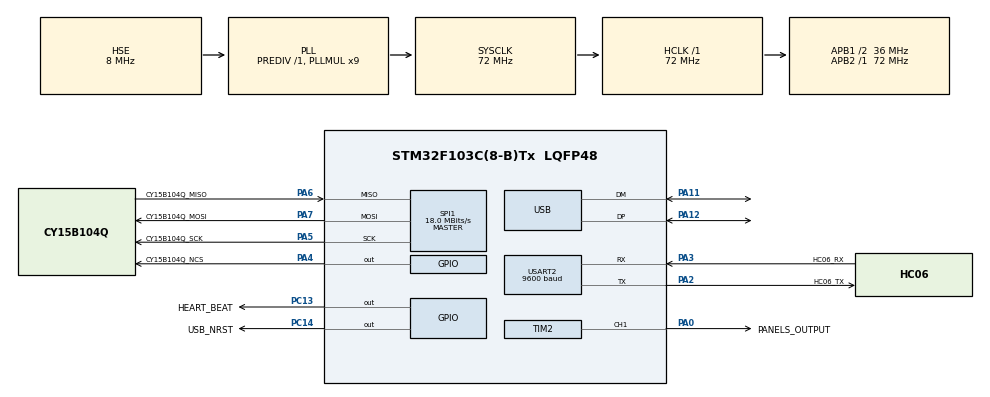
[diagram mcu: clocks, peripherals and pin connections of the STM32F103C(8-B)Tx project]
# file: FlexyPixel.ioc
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Dma.Request0=TIM2_CH1
Dma.Request1=USART2_RX
Dma.TIM2_CH1.0.Direction=DMA_MEMORY_TO_PERIPH
Dma.TIM2_CH1.0.Instance=DMA1_Channel5
Dma.TIM2_CH1.0.MemDataAlignment=DMA_MDATAALIGN_BYTE
Dma.TIM2_CH1.0.MemInc=DMA_MINC_ENABLE
Dma.TIM2_CH1.0.Mode=DMA_CIRCULAR
Dma.TIM2_CH1.0.PeriphDataAlignment=DMA_PDATAALIGN_HALFWORD
Dma.TIM2_CH1.0.PeriphInc=DMA_PINC_DISABLE
Dma.TIM2_CH1.0.Priority=DMA_PRIORITY_HIGH
Dma.USART2_RX.1.Direction=DMA_PERIPH_TO_MEMORY
Dma.USART2_RX.1.Instance=DMA1_Channel6
Dma.USART2_RX.1.MemDataAlignment=DMA_MDATAALIGN_BYTE
Dma.USART2_RX.1.MemInc=DMA_MINC_ENABLE
Dma.USART2_RX.1.Mode=DMA_NORMAL
Dma.USART2_RX.1.PeriphDataAlignment=DMA_PDATAALIGN_BYTE
Dma.USART2_RX.1.PeriphInc=DMA_PINC_DISABLE
Dma.USART2_RX.1.Priority=DMA_PRIORITY_LOW
Mcu.Family=STM32F1
Mcu.Name=STM32F103C(8-B)Tx
Mcu.Package=LQFP48
NVIC.DMA1_Channel5_IRQn=true\:0\:0\:false\:false\:true\:false\:true\:true
NVIC.DMA1_Channel6_IRQn=true\:0\:0\:false\:false\:true\:false\:true\:true
NVIC.PriorityGroup=NVIC_PRIORITYGROUP_4
NVIC.TIM3_IRQn=true\:0\:0\:false\:false\:true\:true\:true\:true
NVIC.USB_LP_CAN1_RX0_IRQn=true\:0\:0\:false\:false\:true\:false\:true\:true
PA0-WKUP.GPIO_Label=PANELS_OUTPUT
PA0-WKUP.GPIO_Speed=GPIO_SPEED_FREQ_HIGH
PA0-WKUP.Signal=S_TIM2_CH1_ETR
PA11.Mode=Device
PA11.Signal=USB_DM
PA12.Mode=Device
PA12.Signal=USB_DP
PA13.Mode=Serial_Wire
PA13.Signal=SYS_JTMS-SWDIO
PA14.Mode=Serial_Wire
PA14.Signal=SYS_JTCK-SWCLK
PA2.GPIO_Label=HC06_TX
PA2.Mode=Asynchronous
PA2.Signal=USART2_TX
PA3.GPIO_Label=HC06_RX
PA3.Mode=Asynchronous
PA3.Signal=USART2_RX
PA4.GPIO_Label=CY15B104Q_NCS
PA4.PinState=GPIO_PIN_SET
PA4.Signal=GPIO_Output
PA5.GPIO_Label=CY15B104Q_SCK
PA5.Mode=Full_Duplex_Master
PA5.Signal=SPI1_SCK
PA6.GPIO_Label=CY15B104Q_MISO
PA6.Mode=Full_Duplex_Master
PA6.Signal=SPI1_MISO
PA7.GPIO_Label=CY15B104Q_MOSI
PA7.Mode=Full_Duplex_Master
PA7.Signal=SPI1_MOSI
PC13-TAMPER-RTC.GPIO_Label=HEART_BEAT
PC13-TAMPER-RTC.Signal=GPIO_Output
PC14-OSC32_IN.GPIO_Label=USB_NRST
PC14-OSC32_IN.GPIO_ModeDefaultOutputPP=GPIO_MODE_OUTPUT_OD
PC14-OSC32_IN.GPIO_PuPd=GPIO_NOPULL
PC14-OSC32_IN.Signal=GPIO_Output
PD0-OSC_IN.Mode=HSE-External-Oscillator
PD0-OSC_IN.Signal=RCC_OSC_IN
PD1-OSC_OUT.Mode=HSE-External-Oscillator
PD1-OSC_OUT.Signal=RCC_OSC_OUT
ProjectManager.HeapSize=0x200
ProjectManager.StackSize=0x400
ProjectManager.TargetToolchain=Makefile
RCC.AHBFreq_Value=72000000
RCC.APB1CLKDivider=RCC_HCLK_DIV2
RCC.APB1Freq_Value=36000000
RCC.APB1TimFreq_Value=72000000
RCC.APB2Freq_Value=72000000
RCC.APB2TimFreq_Value=72000000
RCC.HCLKFreq_Value=72000000
RCC.PLLMUL=RCC_PLL_MUL9
RCC.PLLSourceVirtual=RCC_PLLSOURCE_HSE
RCC.SYSCLKFreq_VALUE=72000000
RCC.SYSCLKSource=RCC_SYSCLKSOURCE_PLLCLK
RCC.USBFreq_Value=48000000
RCC.USBPrescaler=RCC_USBCLKSOURCE_PLL_DIV1_5
SH.S_TIM2_CH1_ETR.0=TIM2_CH1,PWM Generation1 CH1
SPI1.BaudRatePrescaler=SPI_BAUDRATEPRESCALER_4
SPI1.CalculateBaudRate=18.0 MBits/s
SPI1.Direction=SPI_DIRECTION_2LINES
SPI1.Mode=SPI_MODE_MASTER
SPI1.VirtualType=VM_MASTER
TIM2.Channel-PWM\ Generation1\ CH1=TIM_CHANNEL_1
TIM2.Period=90-1
TIM3.ClockDivision=TIM_CLOCKDIVISION_DIV1
TIM3.Period=60000 - 1
TIM3.Prescaler=12 - 1
USART2.BaudRate=9600
USART2.VirtualMode=VM_ASYNC
USB_DEVICE.CLASS_NAME_FS=CDC
USB_DEVICE.VirtualMode=Cdc
USB_DEVICE.VirtualModeFS=Cdc_FS
VP_TIM3_VS_ClockSourceINT.Mode=Internal
VP_USB_DEVICE_VS_USB_DEVICE_CDC_FS.Mode=CDC_FS
board=custom

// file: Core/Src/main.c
/* USER CODE BEGIN Header */
/**
  ******************************************************************************
  * @file           : main.c
  * @brief          : Main program body
  ******************************************************************************
  * @attention
  *
  * Copyright (c) 2024 STMicroelectronics.
  * All rights reserved.
  *
  * This software is licensed under terms that can be found in the LICENSE file
  * in the root directory of this software component.
  * If no LICENSE file comes with this software, it is provided AS-IS.
  *
  ******************************************************************************
  */
/* USER CODE END Header */
#include "main.h"
#include "usb_device.h"

/* USER CODE BEGIN Includes */
#include "usbd_cdc_if.h"
#include "task_manager.h"
#include "builder_general.h"
#include "cy15b104q_driver.h"
#include "displays_config_storage.h"
#include "single_changes_storage.h"
#include "builder_task_manager.h"
#include "frames_storage.h"
#include "builder_debug_handler.h"
#include "debug_handler.h"
/* USER CODE END Includes */

SPI_HandleTypeDef hspi1;

TIM_HandleTypeDef htim2;
TIM_HandleTypeDef htim3;
DMA_HandleTypeDef hdma_tim2_ch1;

UART_HandleTypeDef huart2;
DMA_HandleTypeDef hdma_usart2_rx;

void SystemClock_Config(void);
static void MX_GPIO_Init(void);
static void MX_DMA_Init(void);
static void MX_TIM2_Init(void);
static void MX_USART2_UART_Init(void);
static void MX_TIM3_Init(void);
static void MX_SPI1_Init(void);

int main(void)
{

  /* MCU Configuration--------------------------------------------------------*/

  /* Reset of all peripherals, Initializes the Flash interface and the Systick. */
  HAL_Init();

  /* Configure the system clock */
  SystemClock_Config();

  /* Initialize all configured peripherals */
  MX_GPIO_Init();
  MX_DMA_Init();
  MX_TIM2_Init();
  MX_USART2_UART_Init();
  MX_TIM3_Init();
  MX_SPI1_Init();
  MX_USB_DEVICE_Init();

  /* Infinite loop */
  /* USER CODE BEGIN WHILE */
  displays_config_storage_create();
  single_changes_storage_create();
  frames_storage_create();

  builder_general_build(&huart2, &hspi1, &htim2);

  // Can connect to USB session (if host is connected)
  DEBUG_HANDLER_OUTPUT("Modules initialized successfully");

  cy15b104q_driver_power_up();

  cy15b104q_driver_status mem_status = cy15b104q_driver_check_link();
  if (mem_status != CY15B104Q_STATUS_OK)
    Error_Handler();
  DEBUG_HANDLER_OUTPUT("Memory initialized successfully");

  (void)cy15b104q_driver_write_enable();
  (void)cy15b104q_driver_write_status_register(false, false, false);

  if (builder_task_manager_build())
    Error_Handler();
  DEBUG_HANDLER_OUTPUT("Task manager initialized successfully");

  task_manager_start_cluster("startup", NULL);

  while (1)
  {
    /* USER CODE END WHILE */

    /* USER CODE BEGIN 3 */
    task_manager_execute();
  }
  /* USER CODE END 3 */
}

void SystemClock_Config(void)
{
  RCC_OscInitTypeDef RCC_OscInitStruct = {0};
  RCC_ClkInitTypeDef RCC_ClkInitStruct = {0};
  RCC_PeriphCLKInitTypeDef PeriphClkInit = {0};

  /** Initializes the RCC Oscillators according to the specified parameters
  * in the RCC_OscInitTypeDef structure.
  */
  RCC_OscInitStruct.OscillatorType = RCC_OSCILLATORTYPE_HSE;
  RCC_OscInitStruct.HSEState = RCC_HSE_ON;
  RCC_OscInitStruct.HSEPredivValue = RCC_HSE_PREDIV_DIV1;
  RCC_OscInitStruct.HSIState = RCC_HSI_ON;
  RCC_OscInitStruct.PLL.PLLState = RCC_PLL_ON;
  RCC_OscInitStruct.PLL.PLLSource = RCC_PLLSOURCE_HSE;
  RCC_OscInitStruct.PLL.PLLMUL = RCC_PLL_MUL9;
  if (HAL_RCC_OscConfig(&RCC_OscInitStruct) != HAL_OK)
  {
    Error_Handler();
  }

  /** Initializes the CPU, AHB and APB buses clocks
  */
  RCC_ClkInitStruct.ClockType = RCC_CLOCKTYPE_HCLK|RCC_CLOCKTYPE_SYSCLK
                              |RCC_CLOCKTYPE_PCLK1|RCC_CLOCKTYPE_PCLK2;
  RCC_ClkInitStruct.SYSCLKSource = RCC_SYSCLKSOURCE_PLLCLK;
  RCC_ClkInitStruct.AHBCLKDivider = RCC_SYSCLK_DIV1;
  RCC_ClkInitStruct.APB1CLKDivider = RCC_HCLK_DIV2;
  RCC_ClkInitStruct.APB2CLKDivider = RCC_HCLK_DIV1;

  if (HAL_RCC_ClockConfig(&RCC_ClkInitStruct, FLASH_LATENCY_2) != HAL_OK)
  {
    Error_Handler();
  }
  PeriphClkInit.PeriphClockSelection = RCC_PERIPHCLK_USB;
  PeriphClkInit.UsbClockSelection = RCC_USBCLKSOURCE_PLL_DIV1_5;
  if (HAL_RCCEx_PeriphCLKConfig(&PeriphClkInit) != HAL_OK)
  {
    Error_Handler();
  }
}

static void MX_SPI1_Init(void)
{

  /* SPI1 parameter configuration*/
  hspi1.Instance = SPI1;
  hspi1.Init.Mode = SPI_MODE_MASTER;
  hspi1.Init.Direction = SPI_DIRECTION_2LINES;
  hspi1.Init.DataSize = SPI_DATASIZE_8BIT;
  hspi1.Init.CLKPolarity = SPI_POLARITY_LOW;
  hspi1.Init.CLKPhase = SPI_PHASE_1EDGE;
  hspi1.Init.NSS = SPI_NSS_SOFT;
  hspi1.Init.BaudRatePrescaler = SPI_BAUDRATEPRESCALER_4;
  hspi1.Init.FirstBit = SPI_FIRSTBIT_MSB;
  hspi1.Init.TIMode = SPI_TIMODE_DISABLE;
  hspi1.Init.CRCCalculation = SPI_CRCCALCULATION_DISABLE;
  hspi1.Init.CRCPolynomial = 10;
  if (HAL_SPI_Init(&hspi1) != HAL_OK)
  {
    Error_Handler();
  }

}

static void MX_TIM2_Init(void)
{

  TIM_MasterConfigTypeDef sMasterConfig = {0};
  TIM_OC_InitTypeDef sConfigOC = {0};

  htim2.Instance = TIM2;
  htim2.Init.Prescaler = 0;
  htim2.Init.CounterMode = TIM_COUNTERMODE_UP;
  htim2.Init.Period = 90-1;
  htim2.Init.ClockDivision = TIM_CLOCKDIVISION_DIV1;
  htim2.Init.AutoReloadPreload = TIM_AUTORELOAD_PRELOAD_DISABLE;
  if (HAL_TIM_PWM_Init(&htim2) != HAL_OK)
  {
    Error_Handler();
  }
  sMasterConfig.MasterOutputTrigger = TIM_TRGO_RESET;
  sMasterConfig.MasterSlaveMode = TIM_MASTERSLAVEMODE_DISABLE;
  if (HAL_TIMEx_MasterConfigSynchronization(&htim2, &sMasterConfig) != HAL_OK)
  {
    Error_Handler();
  }
  sConfigOC.OCMode = TIM_OCMODE_PWM1;
  sConfigOC.Pulse = 0;
  sConfigOC.OCPolarity = TIM_OCPOLARITY_HIGH;
  sConfigOC.OCFastMode = TIM_OCFAST_DISABLE;
  if (HAL_TIM_PWM_ConfigChannel(&htim2, &sConfigOC, TIM_CHANNEL_1) != HAL_OK)
  {
    Error_Handler();
  }
  HAL_TIM_MspPostInit(&htim2);

}

static void MX_TIM3_Init(void)
{

  TIM_ClockConfigTypeDef sClockSourceConfig = {0};
  TIM_MasterConfigTypeDef sMasterConfig = {0};

  htim3.Instance = TIM3;
  htim3.Init.Prescaler = 12 - 1;
  htim3.Init.CounterMode = TIM_COUNTERMODE_UP;
  htim3.Init.Period = 60000 - 1;
  htim3.Init.ClockDivision = TIM_CLOCKDIVISION_DIV1;
  htim3.Init.AutoReloadPreload = TIM_AUTORELOAD_PRELOAD_DISABLE;
  if (HAL_TIM_Base_Init(&htim3) != HAL_OK)
  {
    Error_Handler();
  }
  sClockSourceConfig.ClockSource = TIM_CLOCKSOURCE_INTERNAL;
  if (HAL_TIM_ConfigClockSource(&htim3, &sClockSourceConfig) != HAL_OK)
  {
    Error_Handler();
  }
  sMasterConfig.MasterOutputTrigger = TIM_TRGO_RESET;
  sMasterConfig.MasterSlaveMode = TIM_MASTERSLAVEMODE_DISABLE;
  if (HAL_TIMEx_MasterConfigSynchronization(&htim3, &sMasterConfig) != HAL_OK)
  {
    Error_Handler();
  }

}

static void MX_USART2_UART_Init(void)
{

  huart2.Instance = USART2;
  huart2.Init.BaudRate = 9600;
  huart2.Init.WordLength = UART_WORDLENGTH_8B;
  huart2.Init.StopBits = UART_STOPBITS_1;
  huart2.Init.Parity = UART_PARITY_NONE;
  huart2.Init.Mode = UART_MODE_TX_RX;
  huart2.Init.HwFlowCtl = UART_HWCONTROL_NONE;
  huart2.Init.OverSampling = UART_OVERSAMPLING_16;
  if (HAL_UART_Init(&huart2) != HAL_OK)
  {
    Error_Handler();
  }

}

static void MX_DMA_Init(void)
{

  /* DMA controller clock enable */
  __HAL_RCC_DMA1_CLK_ENABLE();

  /* DMA interrupt init */
  /* DMA1_Channel5_IRQn interrupt configuration */
  HAL_NVIC_SetPriority(DMA1_Channel5_IRQn, 0, 0);
  HAL_NVIC_EnableIRQ(DMA1_Channel5_IRQn);
  /* DMA1_Channel6_IRQn interrupt configuration */
  HAL_NVIC_SetPriority(DMA1_Channel6_IRQn, 0, 0);
  HAL_NVIC_EnableIRQ(DMA1_Channel6_IRQn);

}

static void MX_GPIO_Init(void)
{
  GPIO_InitTypeDef GPIO_InitStruct = {0};

  /* GPIO Ports Clock Enable */
  __HAL_RCC_GPIOC_CLK_ENABLE();
  __HAL_RCC_GPIOD_CLK_ENABLE();
  __HAL_RCC_GPIOA_CLK_ENABLE();

  /*Configure GPIO pin Output Level */
  HAL_GPIO_WritePin(GPIOC, HEART_BEAT_Pin|USB_NRST_Pin, GPIO_PIN_RESET);

  /*Configure GPIO pin Output Level */
  HAL_GPIO_WritePin(CY15B104Q_NCS_GPIO_Port, CY15B104Q_NCS_Pin, GPIO_PIN_SET);

  /*Configure GPIO pin : HEART_BEAT_Pin */
  GPIO_InitStruct.Pin = HEART_BEAT_Pin;
  GPIO_InitStruct.Mode = GPIO_MODE_OUTPUT_PP;
  GPIO_InitStruct.Pull = GPIO_NOPULL;
  GPIO_InitStruct.Speed = GPIO_SPEED_FREQ_LOW;
  HAL_GPIO_Init(HEART_BEAT_GPIO_Port, &GPIO_InitStruct);

  /*Configure GPIO pin : USB_NRST_Pin */
  GPIO_InitStruct.Pin = USB_NRST_Pin;
  GPIO_InitStruct.Mode = GPIO_MODE_OUTPUT_OD;
  GPIO_InitStruct.Pull = GPIO_NOPULL;
  GPIO_InitStruct.Speed = GPIO_SPEED_FREQ_LOW;
  HAL_GPIO_Init(USB_NRST_GPIO_Port, &GPIO_InitStruct);

  /*Configure GPIO pin : CY15B104Q_NCS_Pin */
  GPIO_InitStruct.Pin = CY15B104Q_NCS_Pin;
  GPIO_InitStruct.Mode = GPIO_MODE_OUTPUT_PP;
  GPIO_InitStruct.Pull = GPIO_NOPULL;
  GPIO_InitStruct.Speed = GPIO_SPEED_FREQ_LOW;
  HAL_GPIO_Init(CY15B104Q_NCS_GPIO_Port, &GPIO_InitStruct);

}

void Error_Handler(void)
{
  __disable_irq();
  while (1)
  {
  }
}
